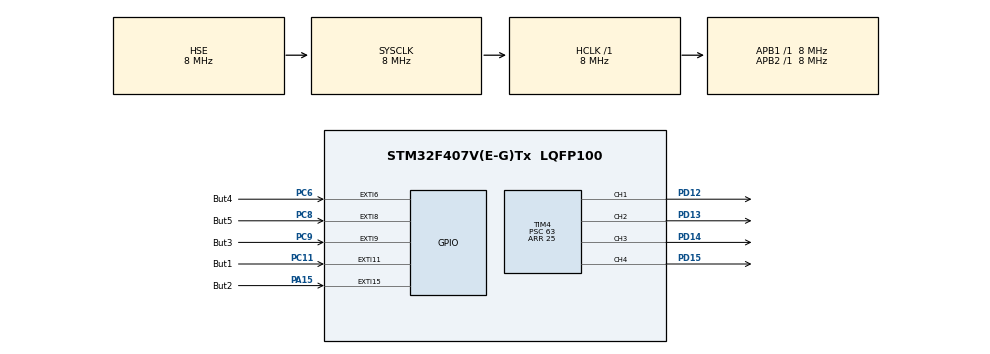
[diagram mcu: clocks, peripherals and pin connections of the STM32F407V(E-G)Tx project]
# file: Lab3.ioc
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Mcu.Family=STM32F4
Mcu.Name=STM32F407V(E-G)Tx
Mcu.Package=LQFP100
NVIC.EXTI15_10_IRQn=true\:0\:0\:false\:false\:true\:true\:true
NVIC.EXTI9_5_IRQn=true\:0\:0\:false\:false\:true\:true\:true
NVIC.PriorityGroup=NVIC_PRIORITYGROUP_4
PA15.GPIO_Label=But2
PA15.GPIO_ModeDefaultEXTI=GPIO_MODE_IT_FALLING
PA15.Signal=GPXTI15
PC11.GPIO_Label=But1
PC11.GPIO_ModeDefaultEXTI=GPIO_MODE_IT_FALLING
PC11.Signal=GPXTI11
PC6.GPIO_Label=But4
PC6.GPIO_ModeDefaultEXTI=GPIO_MODE_IT_FALLING
PC6.Signal=GPXTI6
PC8.GPIO_Label=But5
PC8.GPIO_ModeDefaultEXTI=GPIO_MODE_IT_FALLING
PC8.Signal=GPXTI8
PC9.GPIO_Label=But3
PC9.GPIO_ModeDefaultEXTI=GPIO_MODE_IT_FALLING
PC9.Signal=GPXTI9
PD12.GPIO_PuPd=GPIO_PULLDOWN
PD12.Signal=S_TIM4_CH1
PD13.GPIO_PuPd=GPIO_PULLDOWN
PD13.Signal=S_TIM4_CH2
PD14.GPIO_PuPd=GPIO_PULLDOWN
PD14.Signal=S_TIM4_CH3
PD15.GPIO_PuPd=GPIO_PULLDOWN
PD15.Signal=S_TIM4_CH4
PH0-OSC_IN.Mode=HSE-External-Oscillator
PH0-OSC_IN.Signal=RCC_OSC_IN
PH1-OSC_OUT.Mode=HSE-External-Oscillator
PH1-OSC_OUT.Signal=RCC_OSC_OUT
ProjectManager.HeapSize=0x200
ProjectManager.StackSize=0x400
ProjectManager.TargetToolchain=STM32CubeIDE
RCC.48MHZClocksFreq_Value=24000000
RCC.AHBFreq_Value=8000000
RCC.APB1Freq_Value=8000000
RCC.APB1TimFreq_Value=8000000
RCC.APB2Freq_Value=8000000
RCC.APB2TimFreq_Value=8000000
RCC.CortexFreq_Value=8000000
RCC.HCLKFreq_Value=8000000
RCC.HSE_VALUE=8000000
RCC.HSI_VALUE=16000000
RCC.LSE_VALUE=32768
RCC.PLLSourceVirtual=RCC_PLLSOURCE_HSE
RCC.SYSCLKFreq_VALUE=8000000
RCC.SYSCLKSource=RCC_SYSCLKSOURCE_HSE
RCC.VCOOutputFreq_Value=96000000
SH.S_TIM4_CH1.0=TIM4_CH1,PWM Generation1 CH1
SH.S_TIM4_CH2.0=TIM4_CH2,PWM Generation2 CH2
SH.S_TIM4_CH3.0=TIM4_CH3,PWM Generation3 CH3
SH.S_TIM4_CH4.0=TIM4_CH4,PWM Generation4 CH4
TIM4.AutoReloadPreload=TIM_AUTORELOAD_PRELOAD_ENABLE
TIM4.Channel-PWM\ Generation1\ CH1=TIM_CHANNEL_1
TIM4.Channel-PWM\ Generation2\ CH2=TIM_CHANNEL_2
TIM4.Channel-PWM\ Generation3\ CH3=TIM_CHANNEL_3
TIM4.Channel-PWM\ Generation4\ CH4=TIM_CHANNEL_4
TIM4.Period=25
TIM4.Prescaler=63
TIM4.Pulse-PWM\ Generation1\ CH1=13
TIM4.Pulse-PWM\ Generation2\ CH2=13
TIM4.Pulse-PWM\ Generation3\ CH3=13
TIM4.Pulse-PWM\ Generation4\ CH4=13
VP_TIM4_VS_ClockSourceINT.Mode=Internal
board=custom

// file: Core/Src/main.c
/* USER CODE BEGIN Header */
/**
  ******************************************************************************
  * @file           : main.c
  * @brief          : Main program body
  ******************************************************************************
  * @attention
  *
  * <h2><center>&copy; Copyright (c) 2021 STMicroelectronics.
  * All rights reserved.</center></h2>
  *
  * This software component is licensed by ST under BSD 3-Clause license,
  * the "License"; You may not use this file except in compliance with the
  * License. You may obtain a copy of the License at:
  *                        opensource.org/licenses/BSD-3-Clause
  *
  ******************************************************************************
  */
/* USER CODE END Header */
#include "main.h"

TIM_HandleTypeDef htim4;

/* USER CODE BEGIN PV */

uint16_t  counter=0;               //used to change LED
const uint8_t channel_arr [] = {TIM_CHANNEL_1,TIM_CHANNEL_2,TIM_CHANNEL_3,TIM_CHANNEL_4};   //used to stop LED
uint16_t  ccr_counter = 12;     //used to change duty cycle (starting value equals to 50% duty cycle)
uint16_t  psc_counter = 5;     //used to change PWM frequency (starting value equals to 5 KHz frequency)

/* USER CODE END PV */

void SystemClock_Config(void);
static void MX_GPIO_Init(void);
static void MX_TIM4_Init(void);

/* USER CODE BEGIN 0 */

uint32_t calc(uint8_t number){    //PSC calculation
	uint32_t res= 320/number;
	return res;
}

void HAL_GPIO_EXTI_Callback(uint16_t GPIO_PIN){

	switch (GPIO_PIN){

	case But2_Pin:     //LED change

		HAL_TIM_PWM_Stop(&htim4, channel_arr[counter-1]);

		if (counter==4){
			counter=0;
		}
		else{
		HAL_TIM_PWM_Start(&htim4, channel_arr[counter]);
		counter+=1;
		}

		break;

	case But1_Pin:     //frequency change (+)

		  TIM4->PSC=calc(psc_counter);
		  psc_counter+=5;
		  break;

	case But3_Pin:     //frequency change (-)

		if (psc_counter==5){
			__NOP();
		}
		else {
			TIM4->PSC=calc(psc_counter);
		  psc_counter-=5;
		}

		  break;

	case But4_Pin:       //duty cycle change  (+)

		switch (counter){

		case 1:
			TIM4->CCR1=ccr_counter;
			break;

		case 2:
			TIM4->CCR2=ccr_counter;
			break;

		case 3:
			TIM4->CCR3=ccr_counter;
			break;

		case 4:
			TIM4->CCR4=ccr_counter;
			break;
		}

		ccr_counter+=2;
		__NOP();
		break;

	case But5_Pin:       //duty cycle change  (-)

		if (ccr_counter==0){
			__NOP();
		}
		else {
			switch (counter){

				case 1:
					TIM4->CCR1=ccr_counter;
					break;

				case 2:
					TIM4->CCR2=ccr_counter;
					break;

				case 3:
					TIM4->CCR3=ccr_counter;
					break;

				case 4:
					TIM4->CCR4=ccr_counter;
					break;
				}

			ccr_counter-=2;
		}

		break;

	default:
		__NOP();
		break;

	}
}

/* USER CODE END 0 */

int main(void)
{

  /* MCU Configuration--------------------------------------------------------*/

  /* Reset of all peripherals, Initializes the Flash interface and the Systick. */
  HAL_Init();

  /* Configure the system clock */
  SystemClock_Config();

  /* Initialize all configured peripherals */
  MX_GPIO_Init();
  MX_TIM4_Init();

  /* Infinite loop */
  while (1)
  {

  }
}

void SystemClock_Config(void)
{
  RCC_OscInitTypeDef RCC_OscInitStruct = {0};
  RCC_ClkInitTypeDef RCC_ClkInitStruct = {0};

  /** Configure the main internal regulator output voltage
  */
  __HAL_RCC_PWR_CLK_ENABLE();
  __HAL_PWR_VOLTAGESCALING_CONFIG(PWR_REGULATOR_VOLTAGE_SCALE1);
  /** Initializes the RCC Oscillators according to the specified parameters
  * in the RCC_OscInitTypeDef structure.
  */
  RCC_OscInitStruct.OscillatorType = RCC_OSCILLATORTYPE_HSE;
  RCC_OscInitStruct.HSEState = RCC_HSE_ON;
  RCC_OscInitStruct.PLL.PLLState = RCC_PLL_NONE;
  if (HAL_RCC_OscConfig(&RCC_OscInitStruct) != HAL_OK)
  {
    Error_Handler();
  }
  /** Initializes the CPU, AHB and APB buses clocks
  */
  RCC_ClkInitStruct.ClockType = RCC_CLOCKTYPE_HCLK|RCC_CLOCKTYPE_SYSCLK
                              |RCC_CLOCKTYPE_PCLK1|RCC_CLOCKTYPE_PCLK2;
  RCC_ClkInitStruct.SYSCLKSource = RCC_SYSCLKSOURCE_HSE;
  RCC_ClkInitStruct.AHBCLKDivider = RCC_SYSCLK_DIV1;
  RCC_ClkInitStruct.APB1CLKDivider = RCC_HCLK_DIV1;
  RCC_ClkInitStruct.APB2CLKDivider = RCC_HCLK_DIV1;

  if (HAL_RCC_ClockConfig(&RCC_ClkInitStruct, FLASH_LATENCY_0) != HAL_OK)
  {
    Error_Handler();
  }
}

static void MX_TIM4_Init(void)
{

  TIM_ClockConfigTypeDef sClockSourceConfig = {0};
  TIM_MasterConfigTypeDef sMasterConfig = {0};
  TIM_OC_InitTypeDef sConfigOC = {0};

  htim4.Instance = TIM4;
  htim4.Init.Prescaler = 63;
  htim4.Init.CounterMode = TIM_COUNTERMODE_UP;
  htim4.Init.Period = 25;
  htim4.Init.ClockDivision = TIM_CLOCKDIVISION_DIV1;
  htim4.Init.AutoReloadPreload = TIM_AUTORELOAD_PRELOAD_ENABLE;
  if (HAL_TIM_Base_Init(&htim4) != HAL_OK)
  {
    Error_Handler();
  }
  sClockSourceConfig.ClockSource = TIM_CLOCKSOURCE_INTERNAL;
  if (HAL_TIM_ConfigClockSource(&htim4, &sClockSourceConfig) != HAL_OK)
  {
    Error_Handler();
  }
  if (HAL_TIM_PWM_Init(&htim4) != HAL_OK)
  {
    Error_Handler();
  }
  sMasterConfig.MasterOutputTrigger = TIM_TRGO_RESET;
  sMasterConfig.MasterSlaveMode = TIM_MASTERSLAVEMODE_DISABLE;
  if (HAL_TIMEx_MasterConfigSynchronization(&htim4, &sMasterConfig) != HAL_OK)
  {
    Error_Handler();
  }
  sConfigOC.OCMode = TIM_OCMODE_PWM1;
  sConfigOC.Pulse = 13;
  sConfigOC.OCPolarity = TIM_OCPOLARITY_HIGH;
  sConfigOC.OCFastMode = TIM_OCFAST_DISABLE;
  if (HAL_TIM_PWM_ConfigChannel(&htim4, &sConfigOC, TIM_CHANNEL_1) != HAL_OK)
  {
    Error_Handler();
  }
  if (HAL_TIM_PWM_ConfigChannel(&htim4, &sConfigOC, TIM_CHANNEL_2) != HAL_OK)
  {
    Error_Handler();
  }
  if (HAL_TIM_PWM_ConfigChannel(&htim4, &sConfigOC, TIM_CHANNEL_3) != HAL_OK)
  {
    Error_Handler();
  }
  if (HAL_TIM_PWM_ConfigChannel(&htim4, &sConfigOC, TIM_CHANNEL_4) != HAL_OK)
  {
    Error_Handler();
  }
  HAL_TIM_MspPostInit(&htim4);

}

static void MX_GPIO_Init(void)
{
  GPIO_InitTypeDef GPIO_InitStruct = {0};

  /* GPIO Ports Clock Enable */
  __HAL_RCC_GPIOH_CLK_ENABLE();
  __HAL_RCC_GPIOD_CLK_ENABLE();
  __HAL_RCC_GPIOC_CLK_ENABLE();
  __HAL_RCC_GPIOA_CLK_ENABLE();

  /*Configure GPIO pins : But4_Pin But5_Pin But3_Pin But1_Pin */
  GPIO_InitStruct.Pin = But4_Pin|But5_Pin|But3_Pin|But1_Pin;
  GPIO_InitStruct.Mode = GPIO_MODE_IT_FALLING;
  GPIO_InitStruct.Pull = GPIO_NOPULL;
  HAL_GPIO_Init(GPIOC, &GPIO_InitStruct);

  /*Configure GPIO pin : But2_Pin */
  GPIO_InitStruct.Pin = But2_Pin;
  GPIO_InitStruct.Mode = GPIO_MODE_IT_FALLING;
  GPIO_InitStruct.Pull = GPIO_NOPULL;
  HAL_GPIO_Init(But2_GPIO_Port, &GPIO_InitStruct);

  /* EXTI interrupt init*/
  HAL_NVIC_SetPriority(EXTI9_5_IRQn, 0, 0);
  HAL_NVIC_EnableIRQ(EXTI9_5_IRQn);

  HAL_NVIC_SetPriority(EXTI15_10_IRQn, 0, 0);
  HAL_NVIC_EnableIRQ(EXTI15_10_IRQn);

}

void Error_Handler(void)
{
  __disable_irq();
  while (1)
  {
  }
}

/************************ (C) COPYRIGHT STMicroelectronics *****END OF FILE****/
